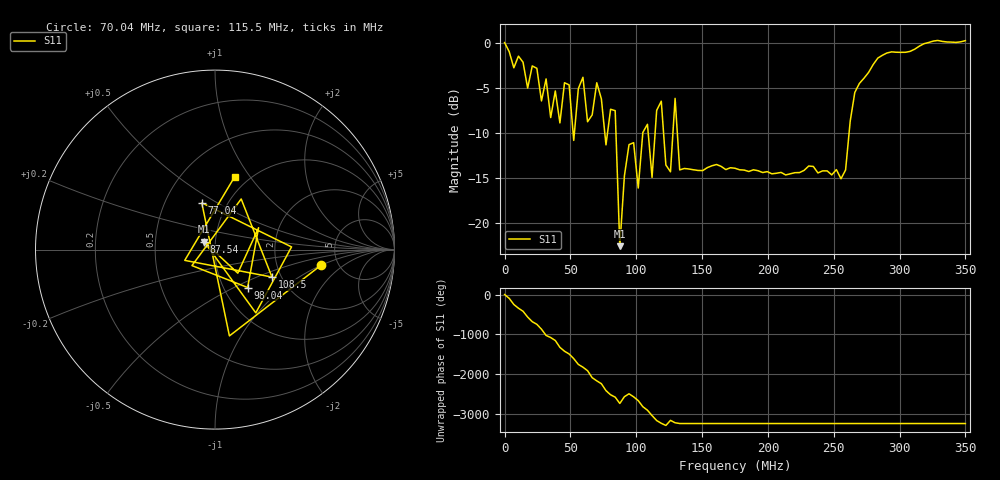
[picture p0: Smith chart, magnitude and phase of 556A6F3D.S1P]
!File created by NanoVNA
# Hz S RI R 50
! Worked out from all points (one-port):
!   101 points, 50 kHz to 350 MHz, reference 50 ohm
!   lowest |S11| = -22.6 dB at 87.54 MHz (marker M1), VSWR 1.16, Z = 44.2 + j3.88 ohm
!   |S11| at or under -10 dB: 84.61 MHz to 105 MHz (20.4 MHz wide, 21.5 % of centre); 120.8 MHz to 127.9 MHz (7.128 MHz wide, 5.73 % of centre); 131.2 MHz to 261.7 MHz (130.5 MHz wide, 66.4 % of centre) (the widest 3 of 6)
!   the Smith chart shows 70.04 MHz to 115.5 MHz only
!   S11 on the Smith chart (normalised r, x): 70.04 MHz: 3.70, -0.99; 77.04 MHz: 0.76, +0.43; 87.54 MHz: 0.88, +0.08; 98.04 MHz: 1.29, -0.59; 108.5 MHz: 1.79, -0.63; 115.5 MHz: 0.86, +0.85
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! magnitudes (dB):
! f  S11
! 50 kHz  0.0
! 31.55 MHz  -4.0
! 35.05 MHz  -8.3
! 45.54 MHz  -4.5
! 52.54 MHz  -10.8
! 56.04 MHz  -5.1
! 63.04 MHz  -8.8
! 70.04 MHz  -4.5
! 77.04 MHz  -11.3
! 84.04 MHz  -7.5
! 87.54 MHz  -22.6
! 91.04 MHz  -14.8
! 98.04 MHz  -11.1
! 101.5 MHz  -16.1
! 108.5 MHz  -9.1
! 112 MHz  -14.9
! 115.5 MHz  -7.5
! 119 MHz  -6.5
! 126 MHz  -14.3
! 129.5 MHz  -6.2
! 133 MHz  -14.1
! 175 MHz  -13.9
! 220.5 MHz  -14.4
! 255.5 MHz  -15.1
! 262.5 MHz  -8.7
! 283.5 MHz  -1.7
! 308 MHz  -1.0
! 350 MHz  0.2
